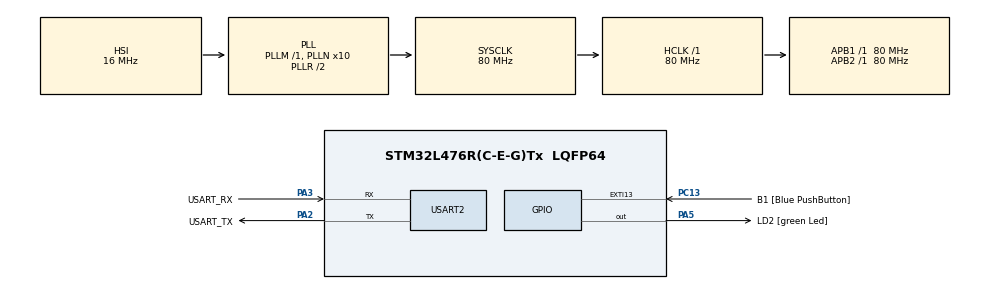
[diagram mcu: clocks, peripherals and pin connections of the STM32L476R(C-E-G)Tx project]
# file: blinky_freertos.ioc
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FREERTOS.Tasks01=defaultTask,24,128,StartDefaultTask,Default,NULL,Dynamic,NULL,NULL
FREERTOS.configTICK_RATE_HZ=100
FREERTOS.configTOTAL_HEAP_SIZE=16384
Mcu.Family=STM32L4
Mcu.Name=STM32L476R(C-E-G)Tx
Mcu.Package=LQFP64
NVIC.PriorityGroup=NVIC_PRIORITYGROUP_4
NVIC.TIM1_UP_TIM16_IRQn=true\:15\:0\:false\:false\:true\:false\:false\:true\:true
NVIC.TimeBase=TIM1_UP_TIM16_IRQn
NVIC.TimeBaseIP=TIM1
PA13\ (JTMS-SWDIO).GPIO_Label=TMS
PA13\ (JTMS-SWDIO).Mode=Serial_Wire
PA13\ (JTMS-SWDIO).Signal=SYS_JTMS-SWDIO
PA14\ (JTCK-SWCLK).GPIO_Label=TCK
PA14\ (JTCK-SWCLK).Mode=Serial_Wire
PA14\ (JTCK-SWCLK).Signal=SYS_JTCK-SWCLK
PA2.GPIO_Label=USART_TX
PA2.GPIO_Mode=GPIO_MODE_AF_PP
PA2.GPIO_PuPd=GPIO_NOPULL
PA2.GPIO_Speed=GPIO_SPEED_FREQ_VERY_HIGH
PA2.Mode=Asynchronous
PA2.Signal=USART2_TX
PA3.GPIO_Label=USART_RX
PA3.GPIO_Mode=GPIO_MODE_AF_PP
PA3.GPIO_PuPd=GPIO_NOPULL
PA3.GPIO_Speed=GPIO_SPEED_FREQ_VERY_HIGH
PA3.Mode=Asynchronous
PA3.Signal=USART2_RX
PA5.GPIO_Label=LD2 [green Led]
PA5.GPIO_ModeDefaultOutputPP=GPIO_MODE_OUTPUT_PP
PA5.GPIO_PuPd=GPIO_NOPULL
PA5.GPIO_Speed=GPIO_SPEED_FREQ_LOW
PA5.Signal=GPIO_Output
PB3\ (JTDO-TRACESWO).GPIO_Label=SWO
PB3\ (JTDO-TRACESWO).Signal=SYS_JTDO-SWO
PC13.GPIO_Label=B1 [Blue PushButton]
PC13.GPIO_ModeDefaultEXTI=GPIO_MODE_IT_FALLING
PC13.GPIO_PuPd=GPIO_NOPULL
PC13.Signal=GPXTI13
PC14-OSC32_IN\ (PC14).Mode=LSE-External-Oscillator
PC14-OSC32_IN\ (PC14).Signal=RCC_OSC32_IN
PC15-OSC32_OUT\ (PC15).Mode=LSE-External-Oscillator
PC15-OSC32_OUT\ (PC15).Signal=RCC_OSC32_OUT
PH0-OSC_IN\ (PH0).Signal=RCC_OSC_IN
PH1-OSC_OUT\ (PH1).Signal=RCC_OSC_OUT
ProjectManager.HeapSize=0x200
ProjectManager.StackSize=0x400
ProjectManager.TargetToolchain=Makefile
RCC.ADCFreq_Value=64000000
RCC.AHBFreq_Value=80000000
RCC.APB1Freq_Value=80000000
RCC.APB1TimFreq_Value=80000000
RCC.APB2Freq_Value=80000000
RCC.APB2TimFreq_Value=80000000
RCC.CortexFreq_Value=80000000
RCC.HCLKFreq_Value=80000000
RCC.HSE_VALUE=8000000
RCC.HSI_VALUE=16000000
RCC.MSI_VALUE=4000000
RCC.PLLN=10
RCC.PLLSourceVirtual=RCC_PLLSOURCE_HSI
RCC.PREFETCH_ENABLE=1
RCC.SYSCLKFreq_VALUE=80000000
RCC.SYSCLKSource=RCC_SYSCLKSOURCE_PLLCLK
RCC.USBFreq_Value=64000000
RCC.VCOOutputFreq_Value=160000000
USART2.VirtualMode-Asynchronous=VM_ASYNC
VP_FREERTOS_VS_CMSIS_V2.Mode=CMSIS_V2
VP_SYS_VS_tim1.Mode=TIM1
board=NUCLEO-L476RG

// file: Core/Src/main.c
/* USER CODE BEGIN Header */
/**
 ******************************************************************************
 * @file           : main.c
 * @brief          : Main program body
 ******************************************************************************
 * @attention
 *
 * Copyright (c) 2024 STMicroelectronics.
 * All rights reserved.
 *
 * This software is licensed under terms that can be found in the LICENSE file
 * in the root directory of this software component.
 * If no LICENSE file comes with this software, it is provided AS-IS.
 *
 ******************************************************************************
 */
/* USER CODE END Header */
#include "main.h"
#include "cmsis_os.h"
#include "usart.h"
#include "gpio.h"

/* USER CODE BEGIN Includes */
#include "FreeRTOS.h"
#include "task.h"
/* USER CODE END Includes */

/* USER CODE BEGIN PV */
#if (ZIG == 1)
  extern void zig_entrypoint(void);
#endif
/* USER CODE END PV */

void SystemClock_Config(void);
void MX_FREERTOS_Init(void);
/* USER CODE BEGIN PFP */
static void _vTaskBlink(void* pvParameters);
/* USER CODE END PFP */

int main(void)
{

  /* MCU Configuration--------------------------------------------------------*/

  /* Reset of all peripherals, Initializes the Flash interface and the Systick. */
  HAL_Init();

  /* Configure the system clock */
  SystemClock_Config();

  /* Initialize all configured peripherals */
  MX_GPIO_Init();
  MX_USART2_UART_Init();
  /* USER CODE BEGIN 2 */
#if (ZIG == 1)
  zig_entrypoint(); //The program will stop here
#endif

  // Temporary task to initialize the system
  xTaskCreate(_vTaskBlink, "Init", 256, NULL, 15, NULL);
  // Start application
  vTaskStartScheduler();
  /* USER CODE END 2 */

  /* Init scheduler */
  osKernelInitialize();

  /* Call init function for freertos objects (in cmsis_os2.c) */
  MX_FREERTOS_Init();

  /* Start scheduler */
  osKernelStart();

  /* We should never get here as control is now taken by the scheduler */

  /* Infinite loop */
    while (1)
    {

    }
}

void SystemClock_Config(void)
{
  RCC_OscInitTypeDef RCC_OscInitStruct = {0};
  RCC_ClkInitTypeDef RCC_ClkInitStruct = {0};

  /** Configure the main internal regulator output voltage
  */
  if (HAL_PWREx_ControlVoltageScaling(PWR_REGULATOR_VOLTAGE_SCALE1) != HAL_OK)
  {
    Error_Handler();
  }

  /** Initializes the RCC Oscillators according to the specified parameters
  * in the RCC_OscInitTypeDef structure.
  */
  RCC_OscInitStruct.OscillatorType = RCC_OSCILLATORTYPE_HSI;
  RCC_OscInitStruct.HSIState = RCC_HSI_ON;
  RCC_OscInitStruct.HSICalibrationValue = RCC_HSICALIBRATION_DEFAULT;
  RCC_OscInitStruct.PLL.PLLState = RCC_PLL_ON;
  RCC_OscInitStruct.PLL.PLLSource = RCC_PLLSOURCE_HSI;
  RCC_OscInitStruct.PLL.PLLM = 1;
  RCC_OscInitStruct.PLL.PLLN = 10;
  RCC_OscInitStruct.PLL.PLLP = RCC_PLLP_DIV7;
  RCC_OscInitStruct.PLL.PLLQ = RCC_PLLQ_DIV2;
  RCC_OscInitStruct.PLL.PLLR = RCC_PLLR_DIV2;
  if (HAL_RCC_OscConfig(&RCC_OscInitStruct) != HAL_OK)
  {
    Error_Handler();
  }

  /** Initializes the CPU, AHB and APB buses clocks
  */
  RCC_ClkInitStruct.ClockType = RCC_CLOCKTYPE_HCLK|RCC_CLOCKTYPE_SYSCLK
                              |RCC_CLOCKTYPE_PCLK1|RCC_CLOCKTYPE_PCLK2;
  RCC_ClkInitStruct.SYSCLKSource = RCC_SYSCLKSOURCE_PLLCLK;
  RCC_ClkInitStruct.AHBCLKDivider = RCC_SYSCLK_DIV1;
  RCC_ClkInitStruct.APB1CLKDivider = RCC_HCLK_DIV1;
  RCC_ClkInitStruct.APB2CLKDivider = RCC_HCLK_DIV1;

  if (HAL_RCC_ClockConfig(&RCC_ClkInitStruct, FLASH_LATENCY_4) != HAL_OK)
  {
    Error_Handler();
  }
}

/* USER CODE BEGIN 4 */
static void _vTaskBlink(void* pvParameters)
{
    (void)pvParameters;

    while (1)
    {
        HAL_GPIO_WritePin(LD2_GPIO_Port, LD2_Pin, GPIO_PIN_RESET);
        vTaskDelay(150);
        HAL_GPIO_WritePin(LD2_GPIO_Port, LD2_Pin, GPIO_PIN_SET);
        vTaskDelay(150);
    }
}
/* USER CODE END 4 */

void HAL_TIM_PeriodElapsedCallback(TIM_HandleTypeDef *htim)
{
  if (htim->Instance == TIM1) {
    HAL_IncTick();
  }
}

void Error_Handler(void)
{
    __disable_irq();
    while (1)
    {
    }
}

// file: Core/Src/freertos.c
/* USER CODE BEGIN Header */
/**
  ******************************************************************************
  * File Name          : freertos.c
  * Description        : Code for freertos applications
  ******************************************************************************
  * @attention
  *
  * Copyright (c) 2024 STMicroelectronics.
  * All rights reserved.
  *
  * This software is licensed under terms that can be found in the LICENSE file
  * in the root directory of this software component.
  * If no LICENSE file comes with this software, it is provided AS-IS.
  *
  ******************************************************************************
  */
/* USER CODE END Header */

#include "FreeRTOS.h"
#include "task.h"
#include "main.h"
#include "cmsis_os.h"

/* Definitions for defaultTask */
osThreadId_t defaultTaskHandle;
const osThreadAttr_t defaultTask_attributes = {
  .name = "defaultTask",
  .stack_size = 128 * 4,
  .priority = (osPriority_t) osPriorityNormal,
};

void StartDefaultTask(void *argument);

void MX_FREERTOS_Init(void); /* (MISRA C 2004 rule 8.1) */

void MX_FREERTOS_Init(void) {

  /* Create the thread(s) */
  /* creation of defaultTask */
  defaultTaskHandle = osThreadNew(StartDefaultTask, NULL, &defaultTask_attributes);

}

void StartDefaultTask(void *argument)
{
  /* USER CODE BEGIN StartDefaultTask */
  (void)argument;
  /* Infinite loop */
  for(;;)
  {
    osDelay(1);
  }
  /* USER CODE END StartDefaultTask */
}
